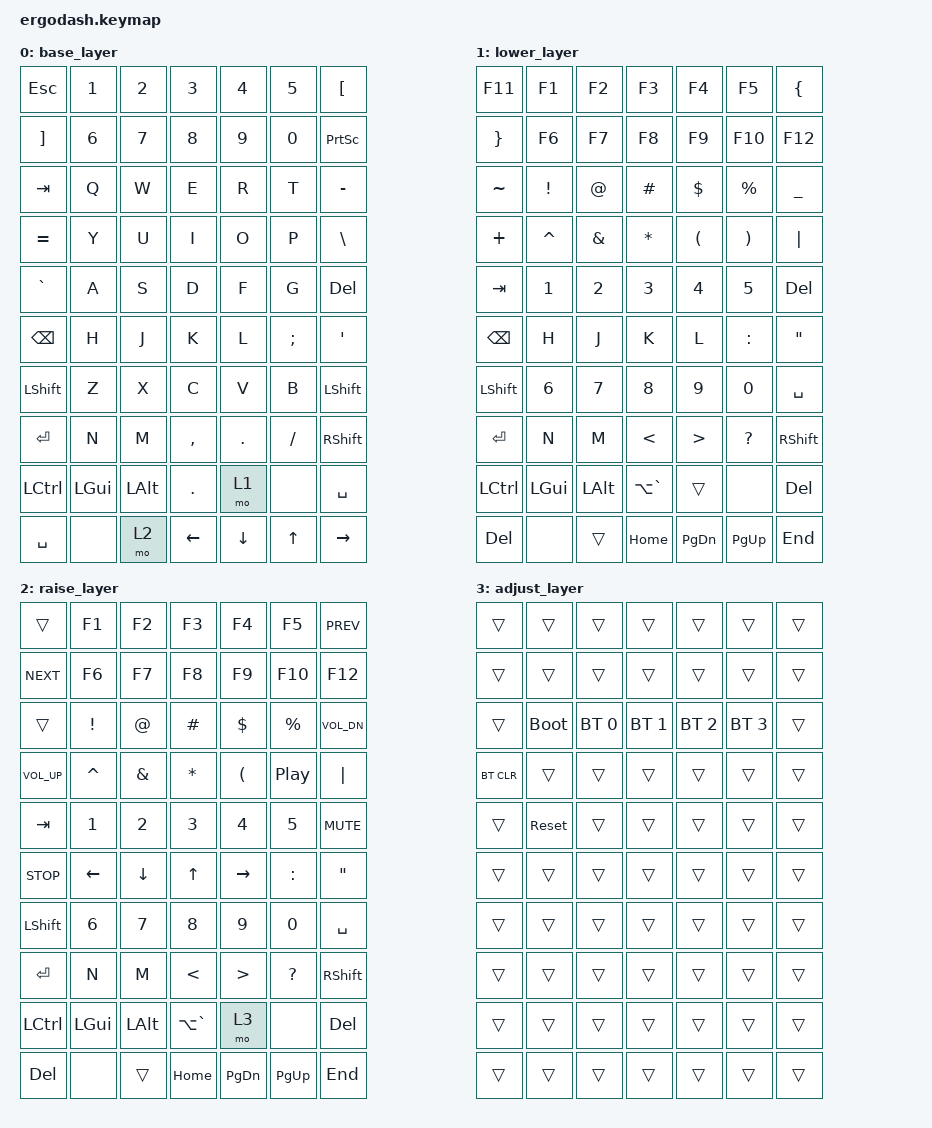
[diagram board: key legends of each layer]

/*
 * ErgoDash rev1.2 — ZMK keymap
 * 5 rows x 14 columns = 70 bindings per layer
 * Based on the ZMK v0.3 ErgoDash default_transform
 */

#include <behaviors.dtsi>
#include <dt-bindings/zmk/keys.h>
#include <dt-bindings/zmk/bt.h>

/ {
    keymap {
        compatible = "zmk,keymap";

        base_layer {
            bindings = <
                /* Row 0 */
                &kp ESC    &kp N1    &kp N2    &kp N3    &kp N4    &kp N5    &kp LBKT
                &kp RBKT   &kp N6    &kp N7    &kp N8    &kp N9    &kp N0    &kp PSCRN

                /* Row 1 */
                &kp TAB    &kp Q     &kp W     &kp E     &kp R     &kp T     &kp MINUS
                &kp EQUAL  &kp Y     &kp U     &kp I     &kp O     &kp P     &kp BSLH

                /* Row 2 */
                &kp GRAVE  &kp A     &kp S     &kp D     &kp F     &kp G     &kp DEL
                &kp BSPC   &kp H     &kp J     &kp K     &kp L     &kp SEMI  &kp SQT

                /* Row 3 */
                &kp LSHFT  &kp Z     &kp X     &kp C     &kp V     &kp B     &kp LSHFT
                &kp RET    &kp N     &kp M     &kp COMMA &kp DOT   &kp FSLH  &kp RSHFT

                /* Row 4 */
                &kp LCTRL  &kp LGUI  &kp LALT  &kp DOT   &mo 1     &none     &kp SPACE
                &kp SPACE  &none     &mo 2     &kp LEFT  &kp DOWN  &kp UP    &kp RIGHT
            >;
        };

        lower_layer {
            bindings = <
                /* Row 0 */
                &kp F11     &kp F1     &kp F2     &kp F3     &kp F4     &kp F5     &kp LBRC
                &kp RBRC    &kp F6     &kp F7     &kp F8     &kp F9     &kp F10    &kp F12

                /* Row 1 */
                &kp TILDE   &kp EXCL   &kp AT     &kp HASH   &kp DLLR   &kp PRCNT  &kp UNDER
                &kp PLUS    &kp CARET  &kp AMPS   &kp ASTRK  &kp LPAR   &kp RPAR   &kp PIPE

                /* Row 2 */
                &kp TAB     &kp N1     &kp N2     &kp N3     &kp N4     &kp N5     &kp DEL
                &kp BSPC    &kp H      &kp J      &kp K      &kp L      &kp COLON  &kp DQT

                /* Row 3 */
                &kp LSHFT   &kp N6     &kp N7     &kp N8     &kp N9     &kp N0     &kp SPACE
                &kp RET     &kp N      &kp M      &kp LT     &kp GT     &kp QMARK  &kp RSHFT

                /* Row 4 */
                &kp LCTRL   &kp LGUI   &kp LALT   &kp LA(GRAVE) &trans   &none     &kp DEL
                &kp DEL     &none      &trans     &kp HOME   &kp PG_DN  &kp PG_UP  &kp END
            >;
        };

        raise_layer {
            bindings = <
                /* Row 0 */
                &trans      &kp F1     &kp F2     &kp F3     &kp F4     &kp F5     &kp C_PREV
                &kp C_NEXT  &kp F6     &kp F7     &kp F8     &kp F9     &kp F10    &kp F12

                /* Row 1 */
                &trans      &kp EXCL   &kp AT     &kp HASH   &kp DLLR   &kp PRCNT  &kp C_VOL_DN
                &kp C_VOL_UP &kp CARET &kp AMPS  &kp ASTRK  &kp LPAR   &kp C_PP   &kp PIPE

                /* Row 2 */
                &kp TAB     &kp N1     &kp N2     &kp N3     &kp N4     &kp N5     &kp C_MUTE
                &kp C_STOP  &kp LEFT   &kp DOWN   &kp UP     &kp RIGHT  &kp COLON  &kp DQT

                /* Row 3 */
                &kp LSHFT   &kp N6     &kp N7     &kp N8     &kp N9     &kp N0     &kp SPACE
                &kp RET     &kp N      &kp M      &kp LT     &kp GT     &kp QMARK  &kp RSHFT

                /* Row 4 */
                &kp LCTRL   &kp LGUI   &kp LALT   &kp LA(GRAVE) &mo 3   &none     &kp DEL
                &kp DEL     &none      &trans     &kp HOME   &kp PG_DN  &kp PG_UP  &kp END
            >;
        };

        adjust_layer {
            bindings = <
                /* Row 0 */
                &trans &trans &trans &trans &trans &trans &trans
                &trans &trans &trans &trans &trans &trans &trans

                /* Row 1 */
                &trans &bootloader &bt BT_SEL 0 &bt BT_SEL 1 &bt BT_SEL 2 &bt BT_SEL 3 &trans
                &bt BT_CLR &trans &trans &trans &trans &trans &trans

                /* Row 2 */
                &trans &sys_reset &trans &trans &trans &trans &trans
                &trans &trans &trans &trans &trans &trans &trans

                /* Row 3 */
                &trans &trans &trans &trans &trans &trans &trans
                &trans &trans &trans &trans &trans &trans &trans

                /* Row 4 */
                &trans &trans &trans &trans &trans &trans &trans
                &trans &trans &trans &trans &trans &trans &trans
            >;
        };
    };
};
